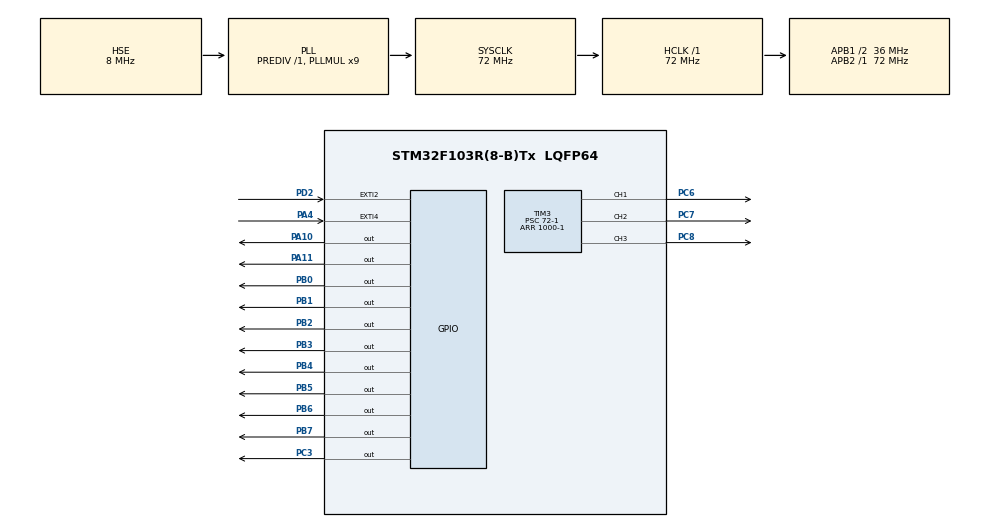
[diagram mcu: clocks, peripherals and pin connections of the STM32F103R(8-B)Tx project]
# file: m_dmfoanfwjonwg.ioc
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Mcu.Family=STM32F1
Mcu.Name=STM32F103R(8-B)Tx
Mcu.Package=LQFP64
NVIC.EXTI2_IRQn=true\:0\:0\:false\:false\:true\:true\:true\:true
NVIC.EXTI4_IRQn=true\:0\:0\:false\:false\:true\:true\:true\:true
NVIC.PriorityGroup=NVIC_PRIORITYGROUP_4
PA10.Signal=GPIO_Output
PA11.Signal=GPIO_Output
PA13.Mode=Serial_Wire
PA13.Signal=SYS_JTMS-SWDIO
PA14.Mode=Serial_Wire
PA14.Signal=SYS_JTCK-SWCLK
PA4.GPIO_ModeDefaultEXTI=GPIO_MODE_IT_FALLING
PA4.Signal=GPXTI4
PB0.Signal=GPIO_Output
PB1.Signal=GPIO_Output
PB2.Signal=GPIO_Output
PB3.Signal=GPIO_Output
PB4.Signal=GPIO_Output
PB5.Signal=GPIO_Output
PB6.Signal=GPIO_Output
PB7.Signal=GPIO_Output
PC14-OSC32_IN.Mode=LSE-External-Oscillator
PC14-OSC32_IN.Signal=RCC_OSC32_IN
PC15-OSC32_OUT.Mode=LSE-External-Oscillator
PC15-OSC32_OUT.Signal=RCC_OSC32_OUT
PC3.Signal=GPIO_Output
PC6.Signal=S_TIM3_CH1
PC7.Signal=S_TIM3_CH2
PC8.Signal=S_TIM3_CH3
PD0-OSC_IN.Mode=HSE-External-Clock-Source
PD0-OSC_IN.Signal=RCC_OSC_IN
PD1-OSC_OUT.Mode=HSE-External-Clock-Source
PD1-OSC_OUT.Signal=RCC_OSC_OUT
PD2.GPIO_ModeDefaultEXTI=GPIO_MODE_IT_FALLING
PD2.Signal=GPXTI2
ProjectManager.HeapSize=0x200
ProjectManager.StackSize=0x400
ProjectManager.TargetToolchain=STM32CubeIDE
RCC.AHBFreq_Value=72000000
RCC.APB1CLKDivider=RCC_HCLK_DIV2
RCC.APB1Freq_Value=36000000
RCC.APB1TimFreq_Value=72000000
RCC.APB2Freq_Value=72000000
RCC.APB2TimFreq_Value=72000000
RCC.HCLKFreq_Value=72000000
RCC.PLLMUL=RCC_PLL_MUL9
RCC.PLLSourceVirtual=RCC_PLLSOURCE_HSE
RCC.SYSCLKFreq_VALUE=72000000
RCC.SYSCLKSource=RCC_SYSCLKSOURCE_PLLCLK
RCC.USBFreq_Value=72000000
SH.S_TIM3_CH1.0=TIM3_CH1,PWM Generation1 CH1
SH.S_TIM3_CH2.0=TIM3_CH2,PWM Generation2 CH2
SH.S_TIM3_CH3.0=TIM3_CH3,PWM Generation3 CH3
TIM3.AutoReloadPreload=TIM_AUTORELOAD_PRELOAD_ENABLE
TIM3.Channel-PWM\ Generation1\ CH1=TIM_CHANNEL_1
TIM3.Channel-PWM\ Generation2\ CH2=TIM_CHANNEL_2
TIM3.Channel-PWM\ Generation3\ CH3=TIM_CHANNEL_3
TIM3.Period=1000-1
TIM3.Prescaler=72-1
VP_TIM3_VS_ClockSourceINT.Mode=Internal
board=custom

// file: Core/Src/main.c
/* USER CODE BEGIN Header */
/**
  ******************************************************************************
  * @file           : main.c
  * @brief          : Main program body
  ******************************************************************************
  * @attention
  *
  * Copyright (c) 2023 STMicroelectronics.
  * All rights reserved.
  *
  * This software is licensed under terms that can be found in the LICENSE file
  * in the root directory of this software component.
  * If no LICENSE file comes with this software, it is provided AS-IS.
  *
  ******************************************************************************
  */
/* USER CODE END Header */
#include "main.h"

TIM_HandleTypeDef htim3;

/* USER CODE BEGIN PV */
uint16_t LED_1000, LED_100, LED_10, LED_1;
volatile uint16_t led_ccr1 = 0;
uint8_t number[] = {0x3f, 0x06, 0x5b, 0x4f, 0x66,
                                 0x6d, 0x7d, 0x07, 0x7f, 0x67};
int adc_value;

/* USER CODE END PV */

void SystemClock_Config(void);
static void MX_GPIO_Init(void);
static void MX_TIM3_Init(void);

/* USER CODE BEGIN 0 */
typedef struct fnd {
  GPIO_TypeDef *port;
  uint16_t pin;
} FND;
FND value[8] = {
  {GPIOB, GPIO_PIN_0}, {GPIOB, GPIO_PIN_1},
  {GPIOB, GPIO_PIN_2}, {GPIOB, GPIO_PIN_3},
  {GPIOB, GPIO_PIN_4}, {GPIOB, GPIO_PIN_5},
  {GPIOB, GPIO_PIN_6}, {GPIOB, GPIO_PIN_7}
};
FND sel[4] = {
  {GPIOA, GPIO_PIN_10}, {GPIOA, GPIO_PIN_11},
  {GPIOC, GPIO_PIN_4}, {GPIOC, GPIO_PIN_3}
};
void display_fnd(uint8_t data, uint8_t position, uint32_t time) {
  int i;
  for (i = 0; i < 4; i++) {
    if(i == position)
      HAL_GPIO_WritePin(sel[i].port, sel[i].pin, 1);
    else
      HAL_GPIO_WritePin(sel[i].port, sel[i].pin, 0);
  }
 for(i = 0; i < 8; i++) {
    if((data & (1 << i)) != 0)
      HAL_GPIO_WritePin(value[i].port, value[i].pin, 1);
    else
      HAL_GPIO_WritePin(value[i].port, value[i].pin, 0);
  }
  HAL_Delay(time);
}

/* USER CODE END 0 */

int main(void)
{

  /* MCU Configuration--------------------------------------------------------*/

  /* Reset of all peripherals, Initializes the Flash interface and the Systick. */
  HAL_Init();

  /* Configure the system clock */
  SystemClock_Config();

  /* Initialize all configured peripherals */
  MX_GPIO_Init();
  MX_TIM3_Init();

  /* Infinite loop */
  while (1)
  {

    /* USER CODE BEGIN 3 */
	  LED_1000 = led_ccr1/1000;
	  LED_100  = (led_ccr1%1000)/100;
	  LED_10   = ((led_ccr1%1000)%100)/10;
	  LED_1    = (((led_ccr1%1000)%100)%10)/1;
  }
  /* USER CODE END 3 */
}

void SystemClock_Config(void)
{
  RCC_OscInitTypeDef RCC_OscInitStruct = {0};
  RCC_ClkInitTypeDef RCC_ClkInitStruct = {0};

  /** Initializes the RCC Oscillators according to the specified parameters
  * in the RCC_OscInitTypeDef structure.
  */
  RCC_OscInitStruct.OscillatorType = RCC_OSCILLATORTYPE_HSE;
  RCC_OscInitStruct.HSEState = RCC_HSE_BYPASS;
  RCC_OscInitStruct.HSEPredivValue = RCC_HSE_PREDIV_DIV1;
  RCC_OscInitStruct.HSIState = RCC_HSI_ON;
  RCC_OscInitStruct.PLL.PLLState = RCC_PLL_ON;
  RCC_OscInitStruct.PLL.PLLSource = RCC_PLLSOURCE_HSE;
  RCC_OscInitStruct.PLL.PLLMUL = RCC_PLL_MUL9;
  if (HAL_RCC_OscConfig(&RCC_OscInitStruct) != HAL_OK)
  {
    Error_Handler();
  }

  /** Initializes the CPU, AHB and APB buses clocks
  */
  RCC_ClkInitStruct.ClockType = RCC_CLOCKTYPE_HCLK|RCC_CLOCKTYPE_SYSCLK
                              |RCC_CLOCKTYPE_PCLK1|RCC_CLOCKTYPE_PCLK2;
  RCC_ClkInitStruct.SYSCLKSource = RCC_SYSCLKSOURCE_PLLCLK;
  RCC_ClkInitStruct.AHBCLKDivider = RCC_SYSCLK_DIV1;
  RCC_ClkInitStruct.APB1CLKDivider = RCC_HCLK_DIV2;
  RCC_ClkInitStruct.APB2CLKDivider = RCC_HCLK_DIV1;

  if (HAL_RCC_ClockConfig(&RCC_ClkInitStruct, FLASH_LATENCY_2) != HAL_OK)
  {
    Error_Handler();
  }
}

static void MX_TIM3_Init(void)
{

  TIM_ClockConfigTypeDef sClockSourceConfig = {0};
  TIM_MasterConfigTypeDef sMasterConfig = {0};
  TIM_OC_InitTypeDef sConfigOC = {0};

  htim3.Instance = TIM3;
  htim3.Init.Prescaler = 72-1;
  htim3.Init.CounterMode = TIM_COUNTERMODE_UP;
  htim3.Init.Period = 1000-1;
  htim3.Init.ClockDivision = TIM_CLOCKDIVISION_DIV1;
  htim3.Init.AutoReloadPreload = TIM_AUTORELOAD_PRELOAD_ENABLE;
  if (HAL_TIM_Base_Init(&htim3) != HAL_OK)
  {
    Error_Handler();
  }
  sClockSourceConfig.ClockSource = TIM_CLOCKSOURCE_INTERNAL;
  if (HAL_TIM_ConfigClockSource(&htim3, &sClockSourceConfig) != HAL_OK)
  {
    Error_Handler();
  }
  if (HAL_TIM_PWM_Init(&htim3) != HAL_OK)
  {
    Error_Handler();
  }
  sMasterConfig.MasterOutputTrigger = TIM_TRGO_RESET;
  sMasterConfig.MasterSlaveMode = TIM_MASTERSLAVEMODE_DISABLE;
  if (HAL_TIMEx_MasterConfigSynchronization(&htim3, &sMasterConfig) != HAL_OK)
  {
    Error_Handler();
  }
  sConfigOC.OCMode = TIM_OCMODE_PWM1;
  sConfigOC.Pulse = 0;
  sConfigOC.OCPolarity = TIM_OCPOLARITY_HIGH;
  sConfigOC.OCFastMode = TIM_OCFAST_DISABLE;
  if (HAL_TIM_PWM_ConfigChannel(&htim3, &sConfigOC, TIM_CHANNEL_1) != HAL_OK)
  {
    Error_Handler();
  }
  if (HAL_TIM_PWM_ConfigChannel(&htim3, &sConfigOC, TIM_CHANNEL_2) != HAL_OK)
  {
    Error_Handler();
  }
  if (HAL_TIM_PWM_ConfigChannel(&htim3, &sConfigOC, TIM_CHANNEL_3) != HAL_OK)
  {
    Error_Handler();
  }
  HAL_TIM_MspPostInit(&htim3);

}

static void MX_GPIO_Init(void)
{
  GPIO_InitTypeDef GPIO_InitStruct = {0};

  /* GPIO Ports Clock Enable */
  __HAL_RCC_GPIOC_CLK_ENABLE();
  __HAL_RCC_GPIOD_CLK_ENABLE();
  __HAL_RCC_GPIOA_CLK_ENABLE();
  __HAL_RCC_GPIOB_CLK_ENABLE();

  /*Configure GPIO pin Output Level */
  HAL_GPIO_WritePin(GPIOC, GPIO_PIN_3, GPIO_PIN_RESET);

  /*Configure GPIO pin Output Level */
  HAL_GPIO_WritePin(GPIOB, GPIO_PIN_0|GPIO_PIN_1|GPIO_PIN_2|GPIO_PIN_3
                          |GPIO_PIN_4|GPIO_PIN_5|GPIO_PIN_6|GPIO_PIN_7, GPIO_PIN_RESET);

  /*Configure GPIO pin Output Level */
  HAL_GPIO_WritePin(GPIOA, GPIO_PIN_10|GPIO_PIN_11, GPIO_PIN_RESET);

  /*Configure GPIO pin : PC3 */
  GPIO_InitStruct.Pin = GPIO_PIN_3;
  GPIO_InitStruct.Mode = GPIO_MODE_OUTPUT_PP;
  GPIO_InitStruct.Pull = GPIO_NOPULL;
  GPIO_InitStruct.Speed = GPIO_SPEED_FREQ_LOW;
  HAL_GPIO_Init(GPIOC, &GPIO_InitStruct);

  /*Configure GPIO pin : PA4 */
  GPIO_InitStruct.Pin = GPIO_PIN_4;
  GPIO_InitStruct.Mode = GPIO_MODE_IT_FALLING;
  GPIO_InitStruct.Pull = GPIO_NOPULL;
  HAL_GPIO_Init(GPIOA, &GPIO_InitStruct);

  /*Configure GPIO pins : PB0 PB1 PB2 PB3
                           PB4 PB5 PB6 PB7 */
  GPIO_InitStruct.Pin = GPIO_PIN_0|GPIO_PIN_1|GPIO_PIN_2|GPIO_PIN_3
                          |GPIO_PIN_4|GPIO_PIN_5|GPIO_PIN_6|GPIO_PIN_7;
  GPIO_InitStruct.Mode = GPIO_MODE_OUTPUT_PP;
  GPIO_InitStruct.Pull = GPIO_NOPULL;
  GPIO_InitStruct.Speed = GPIO_SPEED_FREQ_LOW;
  HAL_GPIO_Init(GPIOB, &GPIO_InitStruct);

  /*Configure GPIO pins : PA10 PA11 */
  GPIO_InitStruct.Pin = GPIO_PIN_10|GPIO_PIN_11;
  GPIO_InitStruct.Mode = GPIO_MODE_OUTPUT_PP;
  GPIO_InitStruct.Pull = GPIO_NOPULL;
  GPIO_InitStruct.Speed = GPIO_SPEED_FREQ_LOW;
  HAL_GPIO_Init(GPIOA, &GPIO_InitStruct);

  /*Configure GPIO pin : PD2 */
  GPIO_InitStruct.Pin = GPIO_PIN_2;
  GPIO_InitStruct.Mode = GPIO_MODE_IT_FALLING;
  GPIO_InitStruct.Pull = GPIO_NOPULL;
  HAL_GPIO_Init(GPIOD, &GPIO_InitStruct);

  /* EXTI interrupt init*/
  HAL_NVIC_SetPriority(EXTI2_IRQn, 0, 0);
  HAL_NVIC_EnableIRQ(EXTI2_IRQn);

  HAL_NVIC_SetPriority(EXTI4_IRQn, 0, 0);
  HAL_NVIC_EnableIRQ(EXTI4_IRQn);

}

/* USER CODE BEGIN 4 */
void HAP_GPIO_EXTI_Callback(uint16_t GPIO_pin){
	if(!HAL_GPIO_ReadPin(GPIOA, GPIO_PNI_4)){
		if(led_ccr1 =! 1000){
			led_ccr	 += 50;
			__HAL_TIM_SET_COMPARE(&htim3, TIM_CHANNEL_1, led_ccr1);
		}
		else{
			led_ccr1 = 1000;
			__HAL_TIM_SET_COMPARE(&htim3, TIM_CHANNEL_1, led_ccr1);
		}
	}
	if(!HAL_GPIO_ReadPin(GPIOD, GPIO_PNI_2)){
			if(led_ccr1 =! 0){
				led_ccr	 -= 50;
				__HAL_TIM_SET_COMPARE(&htim3, TIM_CHANNEL_1, led_ccr1);
			}
			else{
				led_ccr1 = 0;
				__HAL_TIM_SET_COMPARE(&htim3, TIM_CHANNEL_1, led_ccr1);
			}
		}
}
/* USER CODE END 4 */

void Error_Handler(void)
{
  __disable_irq();
  while (1)
  {
  }
}
